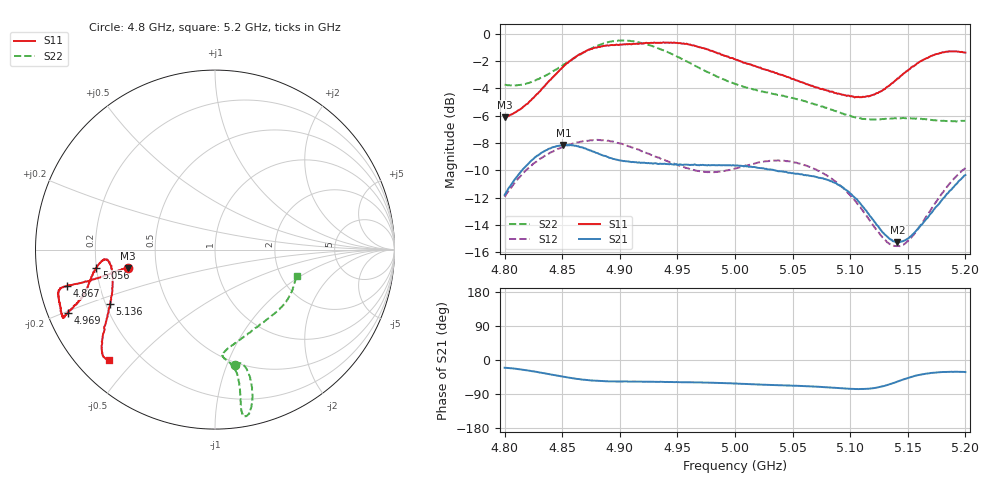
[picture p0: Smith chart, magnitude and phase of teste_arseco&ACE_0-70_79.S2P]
! Network Analyzer HP8722D
! Hewlett-Packard
! Data name: Linha & Wilkinson
! Saver's name: Rodrigo Anjos
! Comments: Teste da utilização de aquisição
! continua pelo VNA HP8722D
! Time and date: 8/5/2025 13:25
!  Frequency  S11  S21  S12  S22
# HZ  S  MA R 50
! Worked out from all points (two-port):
!   401 points, 4.8 GHz to 5.2 GHz, reference 50 ohm
!   highest |S21| = -8.14 dB at 4.851 GHz (marker M1); lowest = -15.3 dB at 5.141 GHz (marker M2)
!   |S21| within 3 dB of the highest: 4.805 GHz to 5.092 GHz (286.5 MHz wide, 5.79 % of centre); 5.190591 GHz to end of sweep
!   lowest |S11| = -6.1 dB at 4.8 GHz (marker M3), VSWR 2.96, Z = 17.1 - j4.64 ohm
!   |S11| at or under -10 dB: nowhere
!   |S22| runs from -6.4 to -0.5 dB; largest |S21 - S12| = 0.62
!   S11 on the Smith chart (normalised r, x): 4.8 GHz: 0.34, -0.09; 4.867 GHz: 0.08, -0.12; 4.969 GHz: 0.06, -0.20; 5.056 GHz: 0.20, -0.07; 5.136 GHz: 0.22, -0.23; 5.2 GHz: 0.09, -0.42
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4.8e9  0.4945 -168.0  0.2566 -20.3  0.2527 -141.3  0.6509 -80.2
4.826e9  0.5883 -167.2  0.3514 -30.6  0.3364 -145.3  0.6722 -75.7
4.851e9  0.7575 -166.1  0.3915 -44.1  0.3855 -150.0  0.7699 -74.7
4.867e9  0.8476 -166.1  0.3832 -51.6  0.4027 -152.5  0.846 -75.6
4.879e9  0.8895 -166.1  0.3666 -54.8  0.4074 -154.5  0.8964 -76.9
4.899e9  0.9089 -163.1  0.344 -57.1  0.3972 -157.0  0.9437 -79.3
4.914e9  0.9189 -160.0  0.3384 -56.9  0.3784 -157.3  0.9351 -80.4
4.934e9  0.9248 -156.7  0.3334 -57.8  0.352 -155.8  0.8812 -80.7
4.969e9  0.8918 -156.9  0.3297 -59.2  0.3137 -147.6  0.7497 -79.7
5e9  0.8063 -159.4  0.3289 -62.2  0.3209 -137.5  0.654 -81.4
5.034e9  0.7221 -165.7  0.3162 -66.3  0.3428 -134.8  0.6006 -85.7
5.056e9  0.6684 -171.4  0.306 -68.3  0.3345 -136.3  0.5727 -84.8
5.067e9  0.6447 -173.5  0.3008 -69.7  0.3225 -137.3  0.5551 -82.5
5.087e9  0.606 -174.9  0.284 -73.7  0.288 -139.0  0.5212 -74.6
5.102e9  0.5887 -171.7  0.2554 -76.4  0.2506 -139.0  0.4967 -65.5
5.116e9  0.5894 -165.1  0.2188 -75.7  0.2098 -135.4  0.4855 -55.2
5.134e9  0.6456 -154.1  0.1776 -64.5  0.1699 -119.8  0.489 -42.9
5.136e9  0.657 -152.8  0.1758 -62.3  0.1677 -117.3  0.4887 -41.7
5.141e9  0.6855 -150.0  0.1723 -56.8  0.1668 -110.8  0.4903 -38.9
5.154e9  0.7581 -144.5  0.1838 -43.9  0.1814 -94.5  0.4887 -32.1
5.172e9  0.8334 -139.1  0.225 -33.6  0.233 -81.2  0.4821 -24.3
5.2e9  0.8523 -133.8  0.3035 -31.9  0.3224 -77.4  0.4802 -17.5
